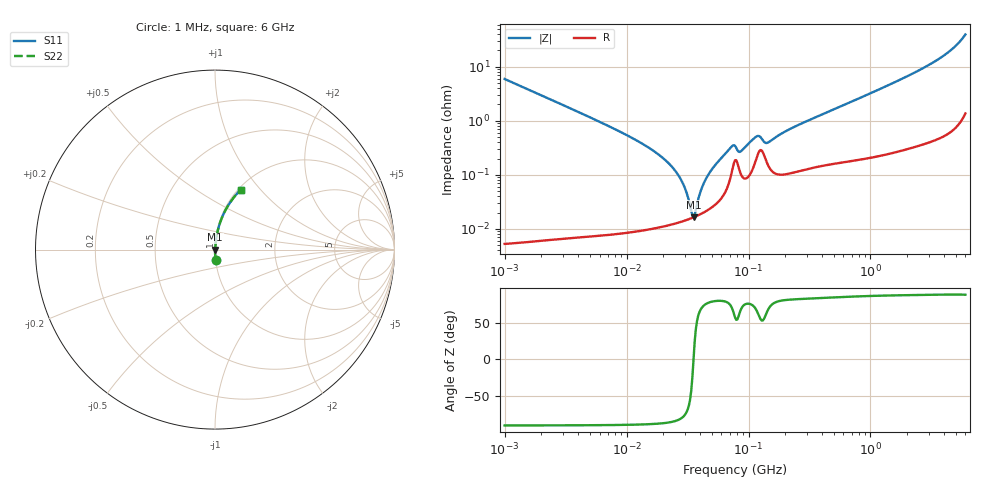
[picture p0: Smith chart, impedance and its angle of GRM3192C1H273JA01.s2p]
!Murata Part Number: GRM3192C1H273JA01
!These Parameters are Measured in Series Mode Connection
!Data Generated on Mar 30, 2021
!  o--ll--o
!Port1  Port2
!  o------o
!Operation Temp=25[degC], DC Bias Voltage=0[V]
!Freq. Start=1000[kHz] Stop=6[GHz] 401[Steps]
# Hz S RI R 50
!Freq.(Hz) S11(Real) S11(Imag) S21(Real) S21(Imag) S12(Real) S12(Imag) S22(Real) S22(Imag)
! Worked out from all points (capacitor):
!   401 points, 1 MHz to 6 GHz, reference 50 ohm
!   read as one part in series: C = 26.9 nF near 1.044 MHz
!   lowest |Z| = 16.4 mohm at 35.4 MHz (marker M1)
!   series resonance near 35.39 MHz, so ESL is about 750 pH
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1000000  0.00354 -0.0589  0.9965 0.0589  0.9965 0.0589  0.00354 -0.0589
4293785  0.000254 -0.0136  0.9997 0.0136  0.9997 0.0136  0.000254 -0.0136
1.093935e7  0.000111 -0.00489  0.9999 0.00489  0.9999 0.00489  0.000111 -0.00489
1.843659e7  0.000112 -0.00234  0.9999 0.00234  0.9999 0.00234  0.000112 -0.00234
2.291577e7  0.000121 -0.0015  0.9999 0.0015  0.9999 0.0015  0.000121 -0.0015
2.727078e7  0.000133 -0.000886  0.9999 0.000886  0.9999 0.000886  0.000133 -0.000886
3.040356e7  0.000144 -0.000514  0.9999 0.000514  0.9999 0.000514  0.000144 -0.000514
3.389622e7  0.000158 -0.000146  0.9998 0.000146  0.9998 0.000146  0.000158 -0.000146
3.540316e7  0.000164 1e-06  0.9998 -1e-06  0.9998 -1e-06  0.000164 1e-06
3.697709e7  0.000171 0.000149  0.9998 -0.000149  0.9998 -0.000149  0.000171 0.000149
4.12249e7  0.000192 0.000524  0.9998 -0.000524  0.9998 -0.000524  0.000192 0.000524
4.697123e7  0.000228 0.000995  0.9998 -0.000995  0.9998 -0.000995  0.000228 0.000995
7.100585e7  0.000886 0.00301  0.9991 -0.00301  0.9991 -0.00301  0.000886 0.00301
7.745967e7  0.00186 0.00289  0.9981 -0.00289  0.9981 -0.00289  0.00186 0.00289
8.635799e7  0.00104 0.0025  0.999 -0.0025  0.999 -0.0025  0.00104 0.0025
1.196694e8  0.00245 0.00462  0.9976 -0.00462  0.9976 -0.00462  0.00245 0.00462
1.363501e8  0.00209 0.00332  0.9979 -0.00332  0.9979 -0.00332  0.00209 0.00332
1.455431e8  0.00147 0.0037  0.9985 -0.0037  0.9985 -0.0037  0.00147 0.0037
3.325952e8  0.00145 0.0108  0.9985 -0.0108  0.9985 -0.0108  0.00145 0.0108
1.428092e9  0.00456 0.0459  0.9954 -0.0459  0.9954 -0.0459  0.00456 0.0459
3.5601e9  0.0222 0.1312  0.9778 -0.1312  0.9778 -0.1312  0.0222 0.1312
6e9  0.1423 0.3325  0.8577 -0.3325  0.8577 -0.3325  0.1423 0.3325
